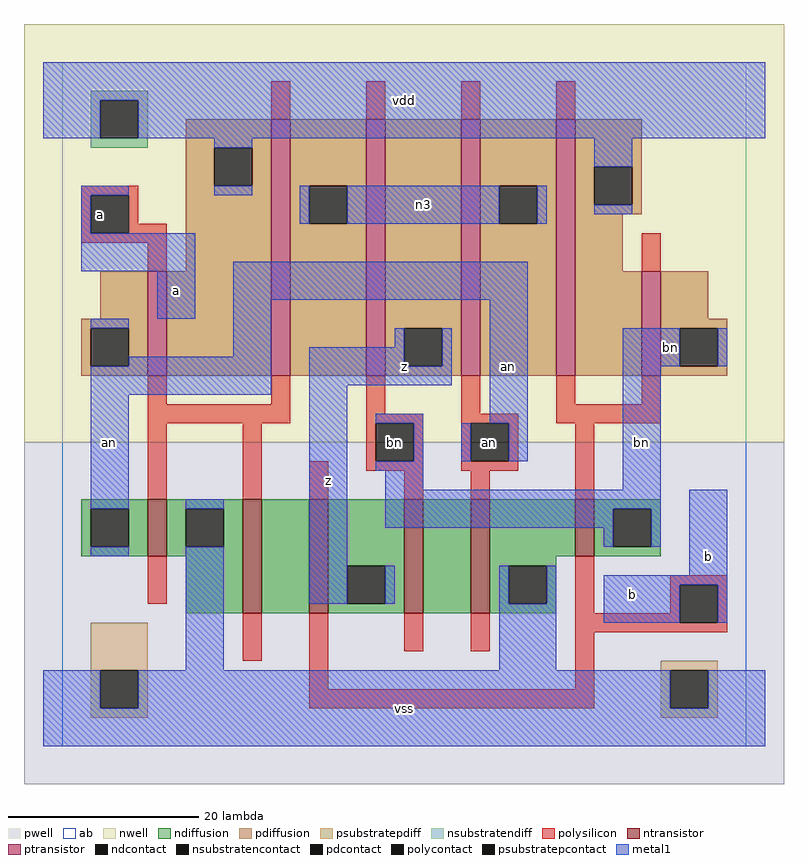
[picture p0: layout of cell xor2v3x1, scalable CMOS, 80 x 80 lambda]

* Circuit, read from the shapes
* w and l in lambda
.subckt xor2v3x1 a an b bn n3 vdd vss z
M1 vss a an vss nfet w=6 l=2
M2 n1 a vss vss nfet w=12 l=2
M3 z b n1 vss nfet w=12 l=2
M4 n2 bn z vss nfet w=12 l=2
M5 vss an n2 vss nfet w=12 l=2
M6 bn b vss vss nfet w=6 l=2
M7 vdd a an vdd pfet w=11 l=2
M8 n3 a vdd vdd pfet w=27 l=2
M9 z bn n3 vdd pfet w=27 l=2
M10 n3 an z vdd pfet w=27 l=2
M11 vdd b n3 vdd pfet w=27 l=2
M12 bn b vdd vdd pfet w=11 l=2
.ends

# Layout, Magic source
magic
tech scmos
<< ab >>
rect 0 0 72 72
<< pwell >>
rect -4 -4 76 32
<< nwell >>
rect -4 32 76 76
<< polysilicon >>
rect 22 66 24 70
rect 32 66 34 70
rect 42 66 44 70
rect 52 66 54 70
rect 2 58 8 59
rect 2 54 3 58
rect 7 55 8 58
rect 7 54 11 55
rect 2 53 11 54
rect 9 50 11 53
rect 61 50 63 54
rect 9 36 11 39
rect 22 36 24 39
rect 9 34 24 36
rect 32 35 34 39
rect 42 35 44 39
rect 52 36 54 39
rect 61 36 63 39
rect 32 34 38 35
rect 9 26 11 34
rect 19 26 21 34
rect 32 30 33 34
rect 37 30 38 34
rect 26 26 28 30
rect 32 29 38 30
rect 42 34 48 35
rect 52 34 63 36
rect 42 30 43 34
rect 47 30 48 34
rect 42 29 48 30
rect 36 26 38 29
rect 43 26 45 29
rect 54 26 56 34
rect 9 15 11 20
rect 54 14 56 20
rect 64 17 70 18
rect 64 14 65 17
rect 19 9 21 14
rect 26 6 28 14
rect 36 10 38 14
rect 43 10 45 14
rect 54 13 65 14
rect 69 13 70 17
rect 54 12 70 13
rect 54 6 56 12
rect 26 4 56 6
<< ndiffusion >>
rect 2 25 9 26
rect 2 21 3 25
rect 7 21 9 25
rect 2 20 9 21
rect 11 25 19 26
rect 11 21 13 25
rect 17 21 19 25
rect 11 20 19 21
rect 13 14 19 20
rect 21 14 26 26
rect 28 19 36 26
rect 28 15 30 19
rect 34 15 36 19
rect 28 14 36 15
rect 38 14 43 26
rect 45 20 54 26
rect 56 25 63 26
rect 56 21 58 25
rect 62 21 63 25
rect 56 20 63 21
rect 45 19 52 20
rect 45 15 47 19
rect 51 15 52 19
rect 45 14 52 15
<< pdiffusion >>
rect 13 63 22 66
rect 13 59 16 63
rect 20 59 22 63
rect 13 50 22 59
rect 4 45 9 50
rect 2 44 9 45
rect 2 40 3 44
rect 7 40 9 44
rect 2 39 9 40
rect 11 39 22 50
rect 24 59 32 66
rect 24 55 26 59
rect 30 55 32 59
rect 24 39 32 55
rect 34 44 42 66
rect 34 40 36 44
rect 40 40 42 44
rect 34 39 42 40
rect 44 59 52 66
rect 44 55 46 59
rect 50 55 52 59
rect 44 39 52 55
rect 54 61 61 66
rect 54 57 56 61
rect 60 57 61 61
rect 54 56 61 57
rect 54 50 59 56
rect 54 39 61 50
rect 63 45 68 50
rect 63 44 70 45
rect 63 40 65 44
rect 69 40 70 44
rect 63 39 70 40
<< metal1 >>
rect -2 68 74 72
rect -2 64 4 68
rect 8 64 74 68
rect 16 63 20 64
rect 56 61 60 64
rect 2 58 7 59
rect 16 58 20 59
rect 2 54 3 58
rect 25 55 26 59
rect 30 55 46 59
rect 50 55 51 59
rect 56 56 60 57
rect 2 50 14 54
rect 10 45 14 50
rect 18 47 49 51
rect 3 44 7 45
rect 18 41 22 47
rect 35 42 36 44
rect 7 40 22 41
rect 3 37 22 40
rect 26 40 36 42
rect 40 40 41 44
rect 26 38 41 40
rect 3 25 7 37
rect 3 20 7 21
rect 13 25 17 26
rect 13 8 17 21
rect 26 15 30 38
rect 33 34 38 35
rect 45 34 49 47
rect 37 30 38 34
rect 42 30 43 34
rect 47 30 49 34
rect 59 40 65 44
rect 69 40 70 44
rect 33 29 38 30
rect 34 27 38 29
rect 59 27 63 40
rect 34 25 63 27
rect 34 23 58 25
rect 57 21 58 23
rect 62 21 63 25
rect 34 15 35 19
rect 46 15 47 19
rect 51 15 52 19
rect 66 18 70 27
rect 46 8 52 15
rect 57 17 70 18
rect 57 13 65 17
rect 69 13 70 17
rect -2 4 4 8
rect 8 4 64 8
rect 68 4 74 8
rect -2 0 74 4
<< ntransistor >>
rect 9 20 11 26
rect 19 14 21 26
rect 26 14 28 26
rect 36 14 38 26
rect 43 14 45 26
rect 54 20 56 26
<< ptransistor >>
rect 9 39 11 50
rect 22 39 24 66
rect 32 39 34 66
rect 42 39 44 66
rect 52 39 54 66
rect 61 39 63 50
<< polycontact >>
rect 3 54 7 58
rect 33 30 37 34
rect 43 30 47 34
rect 65 13 69 17
<< ndcontact >>
rect 3 21 7 25
rect 13 21 17 25
rect 30 15 34 19
rect 58 21 62 25
rect 47 15 51 19
<< pdcontact >>
rect 16 59 20 63
rect 3 40 7 44
rect 26 55 30 59
rect 36 40 40 44
rect 46 55 50 59
rect 56 57 60 61
rect 65 40 69 44
<< psubstratepcontact >>
rect 4 4 8 8
rect 64 4 68 8
<< nsubstratencontact >>
rect 4 64 8 68
<< psubstratepdiff >>
rect 3 8 9 13
rect 3 4 4 8
rect 8 4 9 8
rect 63 8 69 9
rect 63 4 64 8
rect 68 4 69 8
rect 3 3 9 4
rect 63 3 69 4
<< nsubstratendiff >>
rect 3 68 9 69
rect 3 64 4 68
rect 8 64 9 68
rect 3 63 9 64
<< labels >>
rlabel polycontact 35 32 35 32 6 bn
rlabel polycontact 45 32 45 32 6 an
rlabel metal1 5 32 5 32 6 an
rlabel metal1 12 48 12 48 6 a
rlabel polycontact 4 56 4 56 6 a
rlabel metal1 28 28 28 28 6 z
rlabel metal1 36 4 36 4 6 vss
rlabel metal1 47 40 47 40 6 an
rlabel metal1 36 40 36 40 6 z
rlabel metal1 38 57 38 57 6 n3
rlabel metal1 36 68 36 68 6 vdd
rlabel metal1 68 20 68 20 6 b
rlabel metal1 60 16 60 16 6 b
rlabel metal1 61 32 61 32 6 bn
rlabel metal1 64 42 64 42 6 bn
<< end >>
